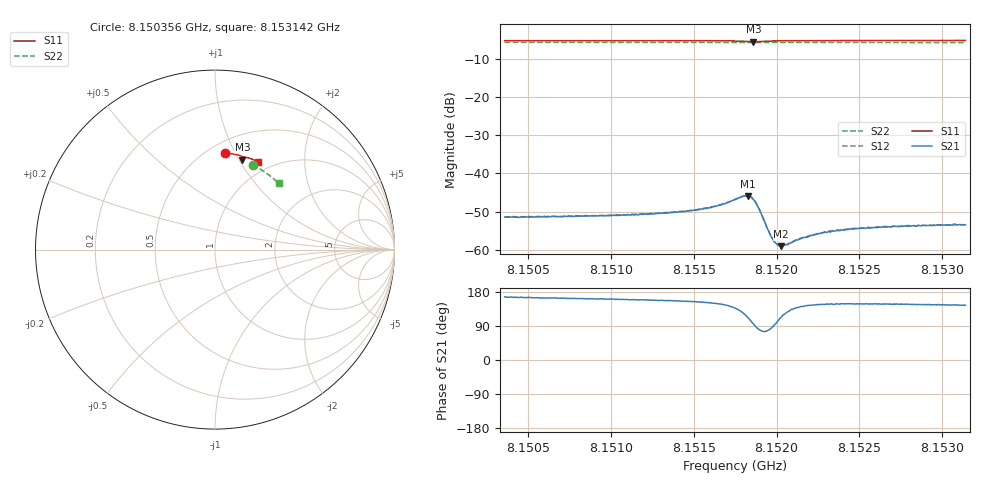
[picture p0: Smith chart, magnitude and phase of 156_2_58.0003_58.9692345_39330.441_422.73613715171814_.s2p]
#  HZ  S  RI  R  50.00
! Rohde & Schwarz Vector Network Analyzer
! Rohde-Schwarz,ZNB20-2Port,1311601062101988,3.16
! Created: UTC 3/21/2024, 12:57:14 AM
! freq[Hz]  re:S11  im:S11  re:S21  im:S21  re:S12  im:S12  re:S22  im:S22
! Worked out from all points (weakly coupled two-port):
!   401 points, 8.150356 GHz to 8.153142 GHz, reference 50 ohm
!   highest |S21| = -45.85 dB at 8.151825 GHz (marker M1); lowest = -59.0 dB at 8.152027 GHz (marker M2)
!   lowest |S11| = -5.6 dB at 8.15186 GHz (marker M3), VSWR 3.20, Z = 37.4 + j51.8 ohm
!   |S11| at or under -10 dB: nowhere
!   |S22| runs from -5.8 to -5.8 dB; largest |S21 - S12| = 0.00014
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8.1503558e9  0.0566 0.5384  -0.00262 0.000616  -0.00259 0.000678  0.2092 0.4711
8.1508224e9  0.0895 0.5345  -0.00265 0.000858  -0.00263 0.00088  0.236 0.4575
8.151289e9  0.1225 0.5284  -0.00276 0.00118  -0.00276 0.00121  0.2621 0.4424
8.151484e9  0.1369 0.5249  -0.00293 0.00142  -0.00296 0.00148  0.2725 0.4356
8.1515885e9  0.145 0.5221  -0.00311 0.00171  -0.00313 0.00178  0.2783 0.432
8.1516651e9  0.1515 0.519  -0.00329 0.00213  -0.00328 0.00218  0.2823 0.429
8.1517487e9  0.1583 0.5134  -0.00333 0.00311  -0.00333 0.00319  0.2868 0.4257
8.1517974e9  0.1602 0.5069  -0.00283 0.00416  -0.00278 0.00422  0.2891 0.4238
8.1518253e9  0.1584 0.5029  -0.00195 0.00471  -0.00193 0.00476  0.2904 0.4227
8.1518601e9  0.1531 0.5015  -0.000387 0.00453  -0.000337 0.0046  0.2919 0.4216
8.1518949e9  0.1497 0.5057  0.000576 0.00334  0.000664 0.00338  0.2935 0.4205
8.1519506e9  0.1528 0.5126  0.000344 0.00177  0.000359 0.00177  0.2966 0.4186
8.1519785e9  0.1559 0.5142  3.74e-05 0.00138  5.37e-05 0.00138  0.2981 0.4176
8.1519994e9  0.1582 0.5149  -0.000166 0.0012  -0.000159 0.00122  0.2992 0.4168
8.1520272e9  0.1611 0.5152  -0.000433 0.00104  -0.000437 0.00108  0.3006 0.4158
8.1520551e9  0.1639 0.5154  -0.000647 0.000976  -0.000661 0.000972  0.3021 0.4148
8.1521317e9  0.1708 0.5147  -0.00103 0.000908  -0.00105 0.000906  0.3061 0.4118
8.1522153e9  0.1775 0.5131  -0.00127 0.00091  -0.00128 0.000906  0.3104 0.4084
8.1523546e9  0.1877 0.5102  -0.00149 0.000963  -0.00152 0.001  0.3172 0.4029
8.1525008e9  0.1981 0.5069  -0.00163 0.00102  -0.00161 0.00104  0.3244 0.3967
8.1526819e9  0.2104 0.5023  -0.00168 0.00108  -0.00166 0.00112  0.3333 0.3892
8.1531415e9  0.2402 0.4896  -0.00173 0.00124  -0.0017 0.00126  0.3546 0.369
